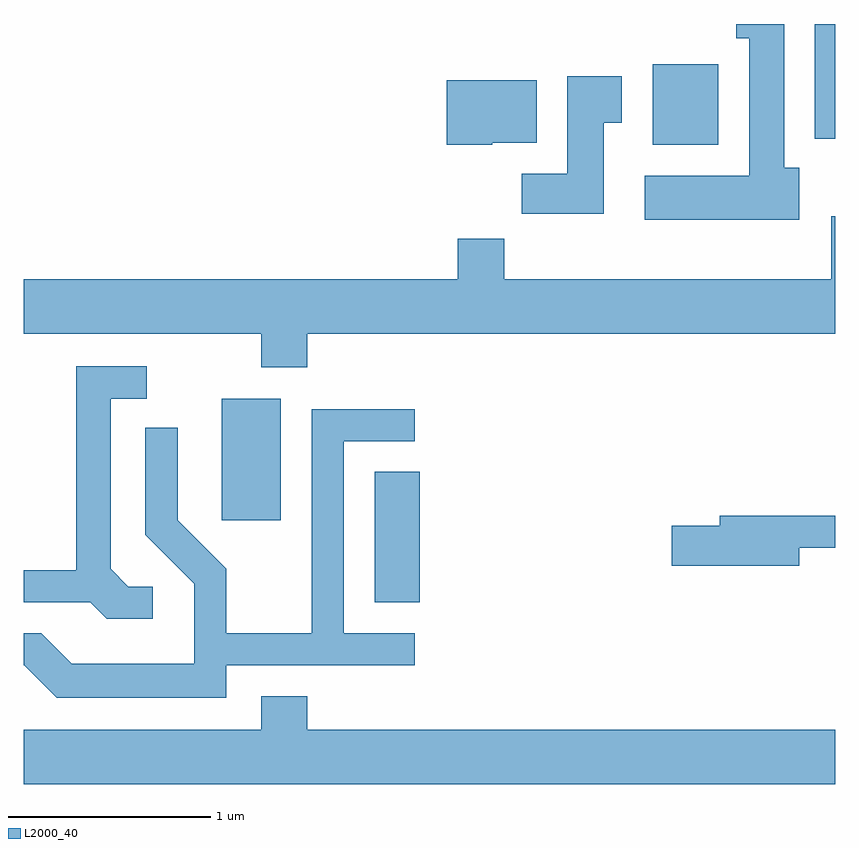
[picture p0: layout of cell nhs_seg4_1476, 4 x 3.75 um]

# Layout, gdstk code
import gdstk
lib = gdstk.Library(unit=1e-6, precision=1e-09)
def R(c, l, rs):  # rectangles x0, y0, x1, y1
    for r in rs: c.add(gdstk.rectangle(r[:2], r[2:], *l))
def P(c, l, *ps):  # polygons
    for p in ps: c.add(gdstk.Polygon(p, *l))
L2000_40 = (2000, 40)

nhs_seg4_1476 = lib.new_cell('nhs_seg4_1476')
R(nhs_seg4_1476, L2000_40, [(229.341,1351.131,229.564,1351.774), (228.586,1351.536,228.879,1352.134), (230.711,1353.386,231.034,1353.784), (231.511,1353.416,231.611,1353.982)])
P(nhs_seg4_1476, L2000_40, [(231.434,1353.274),(231.359,1353.274),(231.359,1353.982),(231.123,1353.982),(231.123,1353.911),(231.186,1353.911),(231.186,1353.234),(230.671,1353.234),(230.671,1353.016),(231.434,1353.016)],
  [(230.469,1353.496),(230.559,1353.496),(230.559,1353.724),(230.291,1353.724),(230.291,1353.244),(230.066,1353.244),(230.066,1353.046),(230.469,1353.046)],
  [(229.92,1353.396),(230.139,1353.396),(230.139,1353.704),(229.696,1353.704),(229.696,1353.386),(229.92,1353.386)],
  [(229.009,1352.456),(231.611,1352.456),(231.611,1353.034),(231.591,1353.034),(231.591,1352.724),(229.979,1352.724),(229.979,1352.924),(229.751,1352.924),(229.751,1352.724),(227.611,1352.724),(227.611,1352.456),(228.781,1352.456),(228.781,1352.291),(229.009,1352.291)],
  [(228.248,1351.209),(228.127,1351.209),(228.039,1351.297),(228.039,1352.136),(228.218,1352.136),(228.218,1352.294),(227.871,1352.294),(227.871,1351.289),(227.611,1351.289),(227.611,1351.131),(227.939,1351.131),(228.019,1351.051),(228.248,1351.051)],
  [(228.609,1350.821),(229.538,1350.821),(229.538,1350.979),(229.189,1350.979),(229.189,1351.926),(229.538,1351.926),(229.538,1352.084),(229.031,1352.084),(229.031,1350.979),(228.609,1350.979),(228.609,1351.297),(228.369,1351.537),(228.369,1351.993),(228.211,1351.993),(228.211,1351.464),(228.451,1351.224),(228.451,1350.829),(227.847,1350.829),(227.697,1350.979),(227.611,1350.979),(227.611,1350.821),(227.614,1350.821),(227.774,1350.661),(228.609,1350.661)],
  [(231.434,1351.401),(231.611,1351.401),(231.611,1351.559),(231.041,1351.559),(231.041,1351.509),(230.806,1351.509),(230.806,1351.311),(231.434,1351.311)],
  [(231.611,1350.504),(229.009,1350.504),(229.009,1350.669),(228.781,1350.669),(228.781,1350.504),(227.611,1350.504),(227.611,1350.236),(231.611,1350.236)])

lib.write_gds('nhs_seg4_1476.gds')
